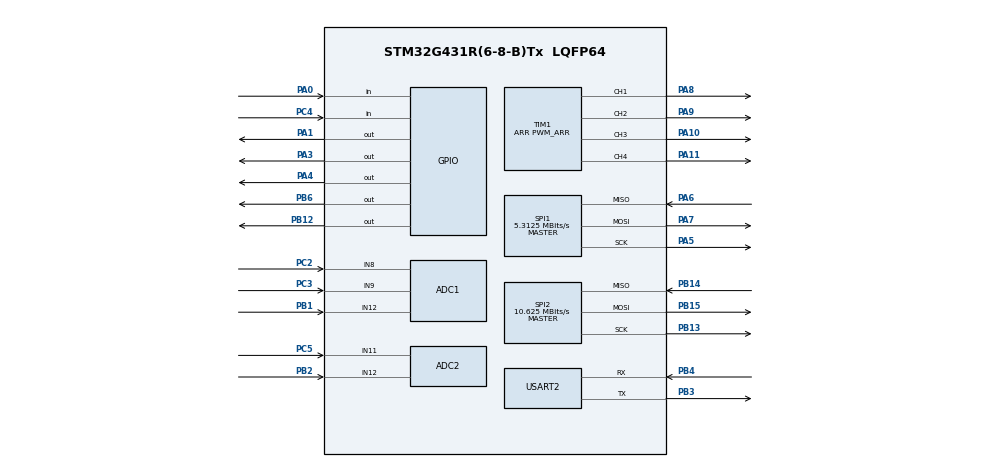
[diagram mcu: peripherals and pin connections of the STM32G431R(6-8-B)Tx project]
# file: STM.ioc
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ADC1.Channel-0\#ChannelRegularConversion=ADC_CHANNEL_TEMPSENSOR_ADC1
ADC1.ContinuousConvMode=DISABLE
ADC1.EnableInjectedConversion=ENABLE
ADC1.ExternalTrigConv=ADC_SOFTWARE_START
ADC1.ExternalTrigInjecConv=ADC_EXTERNALTRIGINJEC_T1_TRGO
ADC1.InjNumberOfConversion=3
ADC1.InjectedChannel-4\#ChannelInjectedConversion=ADC_CHANNEL_12
ADC1.InjectedChannel-7\#ChannelInjectedConversion=ADC_CHANNEL_8
ADC1.InjectedChannel-8\#ChannelInjectedConversion=ADC_CHANNEL_9
ADC1.InjectedOffsetNumber-4\#ChannelInjectedConversion=ADC_OFFSET_NONE
ADC1.InjectedOffsetNumber-7\#ChannelInjectedConversion=ADC_OFFSET_NONE
ADC1.InjectedOffsetNumber-8\#ChannelInjectedConversion=ADC_OFFSET_NONE
ADC1.InjectedRank-4\#ChannelInjectedConversion=1
ADC1.InjectedRank-7\#ChannelInjectedConversion=2
ADC1.InjectedRank-8\#ChannelInjectedConversion=3
ADC1.InjectedSamplingTime-4\#ChannelInjectedConversion=ADC_SAMPLETIME_47CYCLES_5
ADC1.InjectedSamplingTime-7\#ChannelInjectedConversion=ADC_SAMPLETIME_6CYCLES_5
ADC1.InjectedSamplingTime-8\#ChannelInjectedConversion=ADC_SAMPLETIME_6CYCLES_5
ADC1.NbrOfConversion=1
ADC1.NbrOfConversionFlag=1
ADC1.OffsetNumber-0\#ChannelRegularConversion=ADC_OFFSET_NONE
ADC1.Rank-0\#ChannelRegularConversion=1
ADC1.Rank2_Channel=ADC_CHANNEL_8
ADC1.Rank3_Channel=ADC_CHANNEL_9
ADC1.SamplingTime-0\#ChannelRegularConversion=ADC_SAMPLETIME_6CYCLES_5
ADC1.master=1
ADC2.Channel-1\#ChannelRegularConversion=ADC_CHANNEL_11
ADC2.ContinuousConvMode=DISABLE
ADC2.EnableInjectedConversion=ENABLE
ADC2.ExternalTrigInjecConv=ADC_EXTERNALTRIGINJEC_T1_TRGO
ADC2.InjNumberOfConversion=1
ADC2.InjectedChannel-5\#ChannelInjectedConversion=ADC_CHANNEL_12
ADC2.InjectedOffsetNumber-5\#ChannelInjectedConversion=ADC_OFFSET_NONE
ADC2.InjectedRank-5\#ChannelInjectedConversion=1
ADC2.InjectedSamplingTime-5\#ChannelInjectedConversion=ADC_SAMPLETIME_47CYCLES_5
ADC2.NbrOfConversion=1
ADC2.NbrOfConversionFlag=1
ADC2.OffsetNumber-1\#ChannelRegularConversion=ADC_OFFSET_NONE
ADC2.Rank-1\#ChannelRegularConversion=1
ADC2.Rank1_Channel=ADC_CHANNEL_12
ADC2.SamplingTime-1\#ChannelRegularConversion=ADC_SAMPLETIME_6CYCLES_5
Mcu.Family=STM32G4
Mcu.Name=STM32G431R(6-8-B)Tx
Mcu.Package=LQFP64
Mcu.UserConstants=PWM_ARR,3400
NVIC.ADC1_2_IRQn=true\:1\:0\:true\:false\:true\:true\:true
NVIC.PriorityGroup=NVIC_PRIORITYGROUP_4
NVIC.TIM3_IRQn=true\:4\:0\:true\:false\:true\:true\:true
NVIC.USART2_IRQn=true\:3\:0\:true\:false\:true\:true\:true
PA0.Signal=GPIO_Input
PA1.Signal=GPIO_Output
PA10.GPIO_PuPd=GPIO_NOPULL
PA10.Signal=S_TIM1_CH3
PA11.GPIO_PuPd=GPIO_NOPULL
PA11.Signal=S_TIM1_CH4
PA13.Mode=Serial_Wire
PA13.Signal=SYS_JTMS-SWDIO
PA14.Mode=Serial_Wire
PA14.Signal=SYS_JTCK-SWCLK
PA3.PinState=GPIO_PIN_RESET
PA3.Signal=GPIO_Output
PA4.PinState=GPIO_PIN_SET
PA4.Signal=GPIO_Output
PA5.GPIO_PuPd=GPIO_NOPULL
PA5.GPIO_Speed=GPIO_SPEED_FREQ_LOW
PA5.Mode=Full_Duplex_Master
PA5.Signal=SPI1_SCK
PA6.GPIO_PuPd=GPIO_NOPULL
PA6.GPIO_Speed=GPIO_SPEED_FREQ_LOW
PA6.Mode=Full_Duplex_Master
PA6.Signal=SPI1_MISO
PA7.GPIO_PuPd=GPIO_NOPULL
PA7.GPIO_Speed=GPIO_SPEED_FREQ_LOW
PA7.Mode=Full_Duplex_Master
PA7.Signal=SPI1_MOSI
PA8.GPIO_PuPd=GPIO_NOPULL
PA8.Signal=S_TIM1_CH1
PA9.GPIO_PuPd=GPIO_NOPULL
PA9.Signal=S_TIM1_CH2
PB1.Mode=IN12-Single-Ended
PB1.Signal=ADC1_IN12
PB12.Signal=GPIO_Output
PB13.GPIO_PuPd=GPIO_NOPULL
PB13.GPIO_Speed=GPIO_SPEED_FREQ_HIGH
PB13.Mode=Full_Duplex_Master
PB13.Signal=SPI2_SCK
PB14.GPIO_PuPd=GPIO_NOPULL
PB14.GPIO_Speed=GPIO_SPEED_FREQ_HIGH
PB14.Mode=Full_Duplex_Master
PB14.Signal=SPI2_MISO
PB15.GPIO_PuPd=GPIO_NOPULL
PB15.GPIO_Speed=GPIO_SPEED_FREQ_HIGH
PB15.Mode=Full_Duplex_Master
PB15.Signal=SPI2_MOSI
PB2.Mode=IN12-Single-Ended
PB2.Signal=ADC2_IN12
PB3.GPIO_PuPd=GPIO_NOPULL
PB3.GPIO_Speed=GPIO_SPEED_FREQ_VERY_HIGH
PB3.Mode=Asynchronous
PB3.Signal=USART2_TX
PB4.GPIO_PuPd=GPIO_PULLUP
PB4.GPIO_Speed=GPIO_SPEED_FREQ_VERY_HIGH
PB4.Mode=Asynchronous
PB4.Signal=USART2_RX
PB6.PinState=GPIO_PIN_RESET
PB6.Signal=GPIO_Output
PC2.Mode=IN8-Single-Ended
PC2.Signal=ADC1_IN8
PC3.Mode=IN9-Single-Ended
PC3.Signal=ADC1_IN9
PC4.GPIO_PuPd=GPIO_PULLUP
PC4.Signal=GPIO_Input
PC5.Mode=IN11-Single-Ended
PC5.Signal=ADC2_IN11
PF0-OSC_IN.Mode=HSE-External-Oscillator
PF0-OSC_IN.Signal=RCC_OSC_IN
PF1-OSC_OUT.Mode=HSE-External-Oscillator
PF1-OSC_OUT.Signal=RCC_OSC_OUT
ProjectManager.HeapSize=0x200
ProjectManager.StackSize=0x400
ProjectManager.TargetToolchain=MDK-ARM V5.32
RCC.ADC12Freq_Value=170000000
RCC.AHBFreq_Value=170000000
RCC.APB1Freq_Value=170000000
RCC.APB1TimFreq_Value=170000000
RCC.APB2Freq_Value=170000000
RCC.APB2TimFreq_Value=170000000
RCC.CortexFreq_Value=170000000
RCC.EXTERNAL_CLOCK_VALUE=12288000
RCC.HCLKFreq_Value=170000000
RCC.HSE_VALUE=8000000
RCC.HSI48_VALUE=48000000
RCC.HSI_VALUE=16000000
RCC.LSE_VALUE=32768
RCC.PLLM=RCC_PLLM_DIV2
RCC.PLLN=85
RCC.PLLSourceVirtual=RCC_PLLSOURCE_HSE
RCC.SYSCLKFreq_VALUE=170000000
RCC.SYSCLKSource=RCC_SYSCLKSOURCE_PLLCLK
RCC.USBFreq_Value=170000000
RCC.VCOOutputFreq_Value=340000000
SH.S_TIM1_CH1.0=TIM1_CH1,PWM Generation1 CH1
SH.S_TIM1_CH2.0=TIM1_CH2,PWM Generation2 CH2
SH.S_TIM1_CH3.0=TIM1_CH3,PWM Generation3 CH3
SH.S_TIM1_CH4.0=TIM1_CH4,PWM Generation4 CH4
SPI1.BaudRatePrescaler=SPI_BAUDRATEPRESCALER_32
SPI1.CLKPhase=SPI_PHASE_2EDGE
SPI1.CalculateBaudRate=5.3125 MBits/s
SPI1.DataSize=SPI_DATASIZE_16BIT
SPI1.Direction=SPI_DIRECTION_2LINES
SPI1.Mode=SPI_MODE_MASTER
SPI1.VirtualType=VM_MASTER
SPI2.BaudRatePrescaler=SPI_BAUDRATEPRESCALER_16
SPI2.CLKPhase=SPI_PHASE_2EDGE
SPI2.CalculateBaudRate=10.625 MBits/s
SPI2.DataSize=SPI_DATASIZE_16BIT
SPI2.Direction=SPI_DIRECTION_2LINES
SPI2.Mode=SPI_MODE_MASTER
SPI2.VirtualType=VM_MASTER
TIM1.AutoReloadPreload=TIM_AUTORELOAD_PRELOAD_ENABLE
TIM1.Channel-PWM\ Generation1\ CH1=TIM_CHANNEL_1
TIM1.Channel-PWM\ Generation2\ CH2=TIM_CHANNEL_2
TIM1.Channel-PWM\ Generation3\ CH3=TIM_CHANNEL_3
TIM1.Channel-PWM\ Generation4\ CH4=TIM_CHANNEL_4
TIM1.CounterMode=TIM_COUNTERMODE_CENTERALIGNED1
TIM1.OCMode_PWM-PWM\ Generation1\ CH1=TIM_OCMODE_PWM1
TIM1.OCMode_PWM-PWM\ Generation2\ CH2=TIM_OCMODE_PWM1
TIM1.OCMode_PWM-PWM\ Generation3\ CH3=TIM_OCMODE_PWM1
TIM1.OCMode_PWM-PWM\ Generation4\ CH4=TIM_OCMODE_PWM1
TIM1.PeriodNoDither=PWM_ARR
TIM1.PulseNoDither_1=PWM_ARR/2
TIM1.PulseNoDither_2=PWM_ARR/2
TIM1.PulseNoDither_3=PWM_ARR/2
TIM1.PulseNoDither_4=PWM_ARR-10
TIM1.RepetitionCounter=1
TIM1.TIM_MasterOutputTrigger=TIM_TRGO_OC4REF
TIM3.PeriodNoDither=34000
USART2.VirtualMode-Asynchronous=VM_ASYNC
VP_ADC1_TempSens_Input.Mode=IN-TempSens
VP_SYS_VS_DBSignals.Mode=DisableDeadBatterySignals
VP_TIM3_VS_ClockSourceINT.Mode=Internal
board=custom

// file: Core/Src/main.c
/* USER CODE BEGIN Header */
/**
  ******************************************************************************
  * @file           : main.c
  * @brief          : Main program body
  ******************************************************************************
  * @attention
  *
  * <h2><center>&copy; Copyright (c) 2022 STMicroelectronics.
  * All rights reserved.</center></h2>
  *
  * This software component is licensed by ST under BSD 3-Clause license,
  * the "License"; You may not use this file except in compliance with the
  * License. You may obtain a copy of the License at:
  *                        opensource.org/licenses/BSD-3-Clause
  *
  ******************************************************************************
  */
/* USER CODE END Header */
#include "main.h"
#include "adc.h"
#include "spi.h"
#include "tim.h"
#include "usart.h"
#include "gpio.h"

/* USER CODE BEGIN Includes */
#include "drv.h"
#include "tle.h"
#include "SEGGER_RTT.h"
#include "systick.h"
#include "foc.h"
#include "led.h"
#include "para.h"
#include "fsm.h"
#include "control.h"
#include "anticog.h"
#include <stdio.h>
#include "simplefoc.h"
#include <math.h>
/* USER CODE END Includes */

/* USER CODE BEGIN PV */
extern int count;
extern float vq;

extern char tmp1[10], tmp2[10];
extern float temp;
/* USER CODE END PV */

void SystemClock_Config(void);

int main(void)
{

  /* MCU Configuration--------------------------------------------------------*/

  /* Reset of all peripherals, Initializes the Flash interface and the Systick. */

  LL_APB2_GRP1_EnableClock(LL_APB2_GRP1_PERIPH_SYSCFG);
  LL_APB1_GRP1_EnableClock(LL_APB1_GRP1_PERIPH_PWR);

  NVIC_SetPriorityGrouping(NVIC_PRIORITYGROUP_4);

  /* System interrupt init*/
  /* SysTick_IRQn interrupt configuration */
  NVIC_SetPriority(SysTick_IRQn, NVIC_EncodePriority(NVIC_GetPriorityGrouping(),2, 0));

  /** Disable the internal Pull-Up in Dead Battery pins of UCPD peripheral
  */
  LL_PWR_DisableUCPDDeadBattery();

  /* Configure the system clock */
  SystemClock_Config();

  /* USER CODE BEGIN SysInit */
	SYSTICK_init();
  /* USER CODE END SysInit */

  /* Initialize all configured peripherals */
  MX_GPIO_Init();
  MX_ADC1_Init();
  MX_ADC2_Init();
  MX_SPI1_Init();
  MX_SPI2_Init();
  MX_TIM1_Init();
  MX_USART2_UART_Init();
  MX_TIM3_Init();
  /* USER CODE BEGIN 2 */

  // tle init
  Encoder.turns = 0;
  Encoder.position_last = 0;
  Encoder.cnt_last = 0;
	Encoder.velocity_last = 0;
	Encoder.vel_tle_last = 0;

	LL_TIM_EnableCounter(TIM1);

	uint16_t cal1, cal2;
	Foc.cal1 = *((volatile uint16_t *) (0x1FFF75A8));
	Foc.cal2 = *((volatile uint16_t *) (0x1FFF75CA));

  if(DRV8323_init() != 0){
		printf("\n\rDRV8323 init fail!\n\r");
		while(1);
	}
  printf("\n\rDRV8323 init successful!\n\r");

	if(0 == USR_CONFIG_read_cogging_map()){
		AnticoggingValid = true;
		printf("Cogging map loaded\n\r\n\r");
	}else{
		USR_CONFIG_set_default_cogging_map();
		printf("Cogging map loaded faile set to default\n\r\n\r");
	}

  set_config();

  FSM_input("1");

  /* USER CODE END 2 */

  /* Infinite loop */
  while (1)
  {

    /* USER CODE BEGIN 3 */

		if(FSM_get_stat() != FS_ANTICOGGING_MODE){
			float Vtemp = Foc.adc_temp * 3.3 / 4096;
			float R = (3.3 - Vtemp) * 10000.0 / Vtemp;
			Foc.temp = 1.0f / (1.0f/3435 * log(R/10000.0) + 1.0f/(273.15+25)) - 273.15;
			Foc.intemp = (130.0 - 30.0) / (Foc.cal2 - Foc.cal1) * (Foc.adc_intemp * 1.1 - Foc.cal1) + 30;
//		Foc.intemp = (1.43 - (Foc.adc_intemp * 3.3 / 4096)) / 0.0043 + 25;
		}

		ANTICOGGING_loop(&Controller);

//		if(count == 0){
//			printf("mute %f %f %f %f %f %f %f %f\r\n",Foc.i_a,Foc.i_b,Foc.i_c,Encoder.position, Encoder.velocity, \
//																								Controller.input_pos, Controller.input_torque, Controller.input_vel);
//		}

  }
  /* USER CODE END 3 */
}

void SystemClock_Config(void)
{
  LL_FLASH_SetLatency(LL_FLASH_LATENCY_4);
  while(LL_FLASH_GetLatency() != LL_FLASH_LATENCY_4)
  {
  }
  LL_PWR_EnableRange1BoostMode();
  LL_RCC_HSE_Enable();
   /* Wait till HSE is ready */
  while(LL_RCC_HSE_IsReady() != 1)
  {
  }

  LL_RCC_PLL_ConfigDomain_SYS(LL_RCC_PLLSOURCE_HSE, LL_RCC_PLLM_DIV_2, 85, LL_RCC_PLLR_DIV_2);
  LL_RCC_PLL_EnableDomain_SYS();
  LL_RCC_PLL_Enable();
   /* Wait till PLL is ready */
  while(LL_RCC_PLL_IsReady() != 1)
  {
  }

  LL_RCC_SetSysClkSource(LL_RCC_SYS_CLKSOURCE_PLL);
  LL_RCC_SetAHBPrescaler(LL_RCC_SYSCLK_DIV_2);
   /* Wait till System clock is ready */
  while(LL_RCC_GetSysClkSource() != LL_RCC_SYS_CLKSOURCE_STATUS_PLL)
  {
  }

  /* Insure 1?s transition state at intermediate medium speed clock based on DWT */
  CoreDebug->DEMCR |= CoreDebug_DEMCR_TRCENA_Msk;
  DWT->CTRL |= DWT_CTRL_CYCCNTENA_Msk;
  DWT->CYCCNT = 0;
  while(DWT->CYCCNT < 100);
  /* Set AHB prescaler*/
  LL_RCC_SetAHBPrescaler(LL_RCC_SYSCLK_DIV_1);
  LL_RCC_SetAPB1Prescaler(LL_RCC_APB1_DIV_1);
  LL_RCC_SetAPB2Prescaler(LL_RCC_APB2_DIV_1);

  LL_Init1msTick(170000000);

  LL_SetSystemCoreClock(170000000);
  LL_RCC_SetUSARTClockSource(LL_RCC_USART2_CLKSOURCE_PCLK1);
  LL_RCC_SetADCClockSource(LL_RCC_ADC12_CLKSOURCE_SYSCLK);
}

void Error_Handler(void)
{
  /* USER CODE BEGIN Error_Handler_Debug */
  /* User can add his own implementation to report the HAL error return state */
  __disable_irq();

	FOC_disarm();
  while (1)
  {
  }
  /* USER CODE END Error_Handler_Debug */
}

/************************ (C) COPYRIGHT STMicroelectronics *****END OF FILE****/
